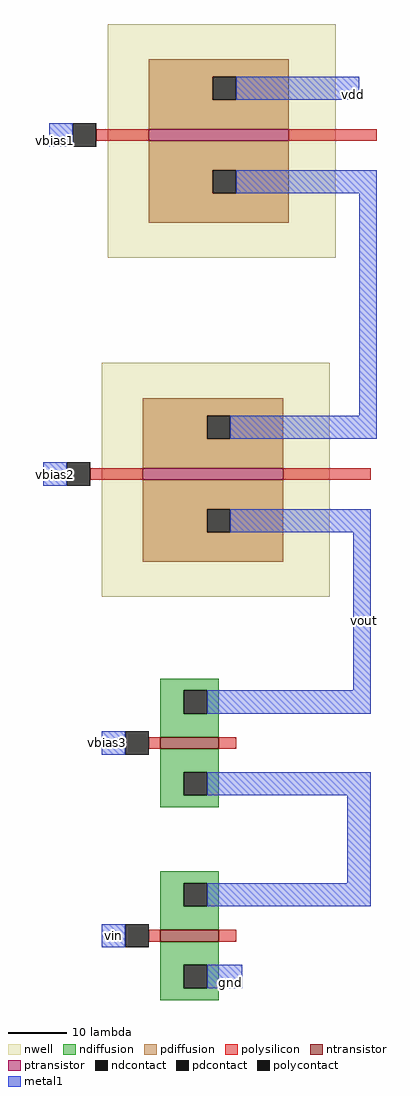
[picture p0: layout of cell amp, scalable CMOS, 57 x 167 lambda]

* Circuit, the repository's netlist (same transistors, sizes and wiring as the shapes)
* SPICE3 file created from amp.ext - technology: scmos

.option scale=0.09u

M1000 a_12_n118# vin gnd Gnd nfet w=10 l=2
+  ad=200 pd=80 as=100 ps=40
M1001 a_9_n39# vbias2 vout w_2_n61# pfet w=24 l=2
+  ad=624 pd=148 as=336 ps=76
M1002 vdd vbias1 a_9_n39# w_3_n3# pfet w=24 l=2
+  ad=288 pd=72 as=0 ps=0
M1003 vout vbias3 a_12_n118# Gnd nfet w=10 l=2
+  ad=100 pd=40 as=0 ps=0

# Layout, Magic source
magic
tech scmos
<< nwell >>
rect 3 -3 42 37
rect 2 -61 41 -21
<< ntransistor >>
rect 12 -87 22 -85
rect 12 -120 22 -118
<< ptransistor >>
rect 10 17 34 19
rect 9 -41 33 -39
<< ndiffusion >>
rect 12 -77 22 -75
rect 12 -81 16 -77
rect 20 -81 22 -77
rect 12 -85 22 -81
rect 12 -91 22 -87
rect 12 -95 16 -91
rect 20 -95 22 -91
rect 12 -97 22 -95
rect 12 -110 22 -108
rect 12 -114 16 -110
rect 20 -114 22 -110
rect 12 -118 22 -114
rect 12 -124 22 -120
rect 12 -128 16 -124
rect 20 -128 22 -124
rect 12 -130 22 -128
<< pdiffusion >>
rect 10 28 34 31
rect 10 24 21 28
rect 25 24 34 28
rect 10 19 34 24
rect 10 12 34 17
rect 10 8 21 12
rect 25 8 34 12
rect 10 3 34 8
rect 9 -30 33 -27
rect 9 -34 20 -30
rect 24 -34 33 -30
rect 9 -39 33 -34
rect 9 -46 33 -41
rect 9 -50 20 -46
rect 24 -50 33 -46
rect 9 -55 33 -50
<< ndcontact >>
rect 16 -81 20 -77
rect 16 -95 20 -91
rect 16 -114 20 -110
rect 16 -128 20 -124
<< pdcontact >>
rect 21 24 25 28
rect 21 8 25 12
rect 20 -34 24 -30
rect 20 -50 24 -46
<< polysilicon >>
rect 1 17 10 19
rect 34 17 49 19
rect 0 -41 9 -39
rect 33 -41 48 -39
rect 10 -87 12 -85
rect 22 -87 25 -85
rect 10 -120 12 -118
rect 22 -120 25 -118
<< polycontact >>
rect -3 16 1 20
rect -4 -42 0 -38
rect 6 -88 10 -84
rect 6 -121 10 -117
<< metal1 >>
rect 25 24 46 28
rect -7 16 -3 20
rect 25 8 49 12
rect 46 -30 49 8
rect 24 -34 49 -30
rect -8 -42 -4 -38
rect 24 -50 48 -46
rect 45 -77 48 -50
rect 20 -81 48 -77
rect 2 -88 6 -84
rect 20 -95 48 -91
rect 44 -110 48 -95
rect 20 -114 48 -110
rect 2 -121 6 -117
rect 20 -128 26 -124
<< labels >>
rlabel metal1 45 25 45 25 7 vdd
rlabel metal1 -6 17 -6 17 3 vbias1
rlabel metal1 -6 -40 -6 -40 3 vbias2
rlabel metal1 3 -86 3 -86 1 vbias3
rlabel metal1 4 -119 4 -119 1 vin
rlabel metal1 24 -127 24 -127 1 gnd
rlabel metal1 47 -65 47 -65 7 vout
<< end >>
